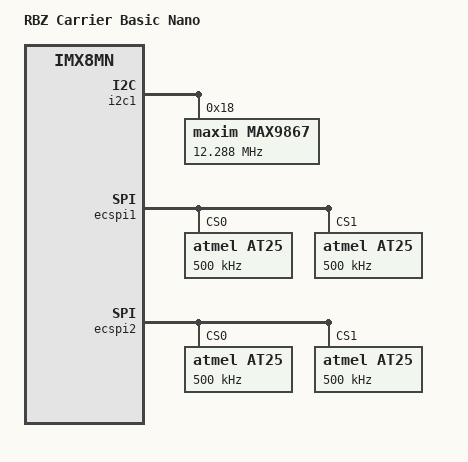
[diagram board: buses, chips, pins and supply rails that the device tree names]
// SPDX-License-Identifier: (GPL-2.0+ OR MIT)
/*
 * Copyright 2019 NXP
 */

/dts-v1/;

#include <dt-bindings/usb/pd.h>
#include "../freescale/imx8mn.dtsi"
#include "mod-imx8m-nano.dtsi"

/ {
	model = "RBZ Carrier Basic Nano";
	compatible = "fsl,imx8mn-evk", "fsl,imx8mn";

    sound-max9867 {
      compatible = "fsl,imx-audio-max9867";
      model = "imx-max9867";
      audio-cpu = <&sai5>;
      audio-codec = <&max9867>;
      audio-asrc = <&easrc>;
      audio-routing = 
        "Headphone Jack", "ROUT",
        "Headphone Jack", "LOUT",
        "Mic Jack", "MICR";
      status = "okay";
    };
};

&i2c1 {
  max9867: codec@18 {
    clock-frequency = <12288000>;
    compatible = "maxim,max9867";
    reg = <0x18>;
    clocks = <&clk IMX8MN_CLK_SAI5_ROOT>;
  };
};

&usdhc1 {
  status = "disabled";
};

&ecspi1 {
  status = "okay";

  at25@0 {
    compatible = "atmel,at25";
    reg = <0>;
    spi-max-frequency = <500000>;
    pagesize = <8>;
    size = <128>;
    address-width = <8>;
  };
  
  at25@1 {
    compatible = "atmel,at25";
    reg = <1>;
    spi-max-frequency = <500000>;
    pagesize = <8>;
    size = <128>;
    address-width = <8>;
  };
};

&ecspi2 {
  status = "okay";

  at25@0 {
    compatible = "atmel,at25";
    reg = <0>;
    spi-max-frequency = <500000>;
    pagesize = <8>;
    size = <128>;
    address-width = <8>;
  };
  
  at25@1 {
    compatible = "atmel,at25";
    reg = <1>;
    spi-max-frequency = <500000>;
    pagesize = <8>;
    size = <128>;
    address-width = <8>;
  };
};
